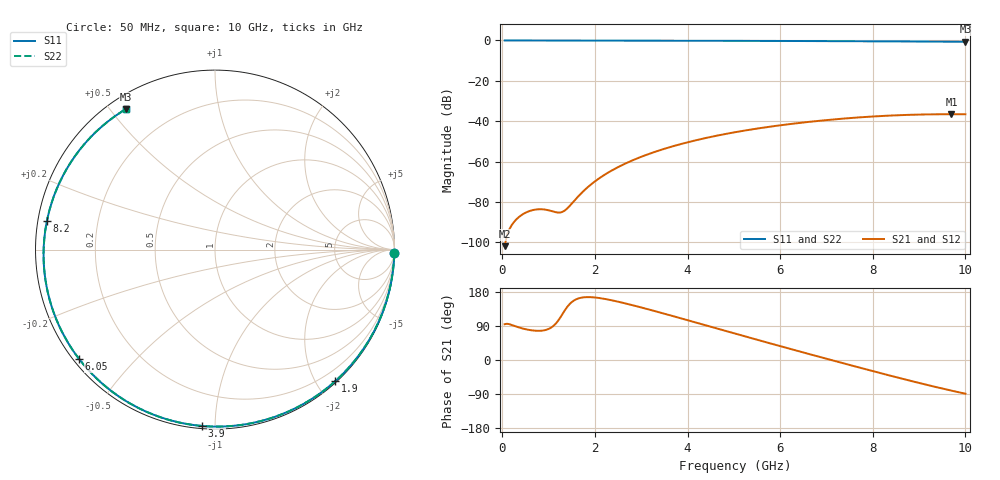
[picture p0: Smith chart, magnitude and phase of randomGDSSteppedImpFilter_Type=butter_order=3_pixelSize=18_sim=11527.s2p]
! freq	dB(S11)	phase(S11)	dB(S12)	phase(S12)
!  dB(S21)	phase(S21)	dB(S22)	phase(S22)
!S-par simulation data
#  GHz  S  DB  R 50
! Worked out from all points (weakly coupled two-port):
!   200 points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, 50 MHz to 10 GHz, reference 50 ohm
!   highest |S21| = -36.55 dB at 9.7 GHz (marker M1); lowest = -101.9 dB at 50 MHz (marker M2)
!   lowest |S11| = -0.7 dB at 10 GHz (marker M3), VSWR 26.49, Z = 2.45 + j27.4 ohm
!   |S11| at or under -10 dB: nowhere
!   |S22| runs from -0.7 to 0.0 dB; largest |S21 - S12| = 0
!   S11 on the Smith chart (normalised r, x): 50 MHz: 2, -92; 1.9 GHz: 0.02, -2.26; 3.9 GHz: 0.01, -0.93; 6.05 GHz: 0.02, -0.35; 8.2 GHz: 0.03, +0.08; 10 GHz: 0.05, +0.55
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0.05  -0.00 -1.2  -101.95 94.3  -101.95 94.3  -0.00 -1.2
0.75  -0.02 -19.1  -83.72 77.0  -83.72 77.0  -0.02 -19.1
1.5  -0.05 -37.9  -80.86 152.9  -80.86 152.9  -0.05 -37.9
1.55  -0.05 -39.1  -79.55 157.3  -79.55 157.3  -0.05 -39.1
1.75  -0.06 -44.0  -74.72 165.3  -74.72 165.3  -0.06 -44.0
1.9  -0.06 -47.7  -71.66 165.9  -71.66 165.9  -0.06 -47.7
2.2  -0.07 -54.9  -66.69 161.5  -66.69 161.5  -0.07 -54.9
2.55  -0.08 -63.3  -62.19 152.5  -62.19 152.5  -0.08 -63.3
2.95  -0.09 -72.6  -58.11 140.3  -58.11 140.3  -0.09 -72.6
3.4  -0.11 -83.0  -54.42 125.5  -54.42 125.5  -0.11 -83.0
3.9  -0.13 -94.3  -51.07 108.5  -51.07 108.5  -0.13 -94.3
4.45  -0.15 -106.4  -48.06 89.6  -48.06 89.6  -0.15 -106.4
5.05  -0.18 -119.5  -45.37 68.9  -45.37 68.9  -0.18 -119.5
5.55  -0.21 -130.3  -43.50 51.8  -43.50 51.8  -0.21 -130.3
6.05  -0.25 -141.1  -41.90 34.9  -41.90 34.9  -0.25 -141.1
6.7  -0.30 -155.3  -40.16 13.2  -40.16 13.2  -0.30 -155.3
7.45  -0.37 -172.1  -38.57 -11.4  -38.57 -11.4  -0.37 -172.1
8.2  -0.45 170.3  -37.43 -35.7  -37.43 -35.7  -0.45 170.3
8.35  -0.46 166.6  -37.25 -40.5  -37.25 -40.5  -0.46 166.6
9.05  -0.54 148.8  -36.70 -62.1  -36.70 -62.1  -0.54 148.8
9.7  -0.62 131.1  -36.55 -80.9  -36.55 -80.9  -0.62 131.1
10  -0.66 122.5  -36.58 -88.9  -36.58 -88.9  -0.66 122.5
